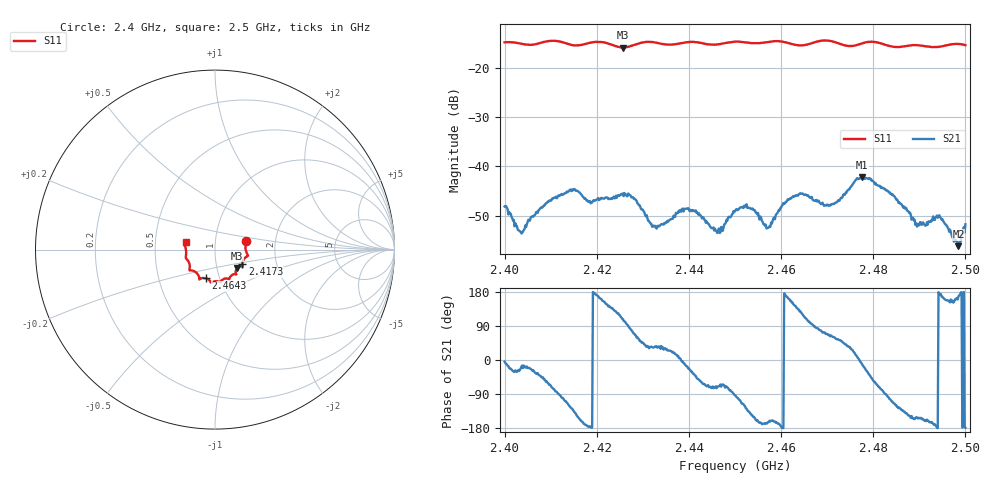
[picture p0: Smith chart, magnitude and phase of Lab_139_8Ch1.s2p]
# Hz S RI R 50
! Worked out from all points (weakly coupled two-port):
!   601 points, 2.4 GHz to 2.5 GHz, reference 50 ohm
!   highest |S21| = -42.23 dB at 2.4775 GHz (marker M1); lowest = -56.2 dB at 2.4985 GHz (marker M2)
!   lowest |S11| = -15.9 dB at 2.4257 GHz (marker M3), VSWR 1.38, Z = 62.4 - j13.1 ohm
!   |S11| at or under -10 dB: start of sweep to end of sweep
!   S12 and S22 are empty: the file has one direction only
!   S11 on the Smith chart (normalised r, x): 2.4 GHz: 1.41, +0.14; 2.4173 GHz: 1.34, -0.23; 2.4643 GHz: 0.86, -0.28; 2.5 GHz: 0.72, +0.06
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2.4e9  0.1733 0.0493  0.0039 -0.00029  0 0  0 0
2.403667e9  0.1721 0.0286  0.00199 -0.00061  0 0  0 0
2.410667e9  0.184 -0.0341  0.00112 -0.00466  0 0  0 0
2.416667e9  0.1525 -0.075  -0.00489 -0.00162  0 0  0 0
2.417333e9  0.1519 -0.0823  -0.0046 -0.000874  0 0  0 0
2.425667e9  0.1225 -0.1024  -0.00165 0.00503  0 0  0 0
2.433333e9  0.1126 -0.1366  0.00206 0.00141  0 0  0 0
2.4395e9  0.0803 -0.1618  0.00357 -0.00105  0 0  0 0
2.446333e9  0.0447 -0.1662  0.000746 -0.00205  0 0  0 0
2.45e9  0.0296 -0.1808  -0.000183 -0.00351  0 0  0 0
2.453833e9  0.0115 -0.1764  -0.00313 -0.00204  0 0  0 0
2.457167e9  -0.015 -0.1816  -0.00229 -0.000639  0 0  0 0
2.461e9  -0.026 -0.1784  -0.00428 0.00076  0 0  0 0
2.464333e9  -0.05 -0.1601  -0.00304 0.00432  0 0  0 0
2.466667e9  -0.076 -0.1596  -0.000404 0.00488  0 0  0 0
2.471167e9  -0.087 -0.1622  0.00198 0.00363  0 0  0 0
2.4775e9  -0.1316 -0.1161  0.00762 -0.00133  0 0  0 0
2.483333e9  -0.1404 -0.0893  -0.000798 -0.00541  0 0  0 0
2.4895e9  -0.1629 -0.044  -0.00216 -0.00115  0 0  0 0
2.494667e9  -0.1631 0.00674  -0.00296 0.000305  0 0  0 0
2.4985e9  -0.1702 0.0338  -0.00152 0.00032  0 0  0 0
2.5e9  -0.1637 0.0418  -0.00258 -4.5e-05  0 0  0 0
